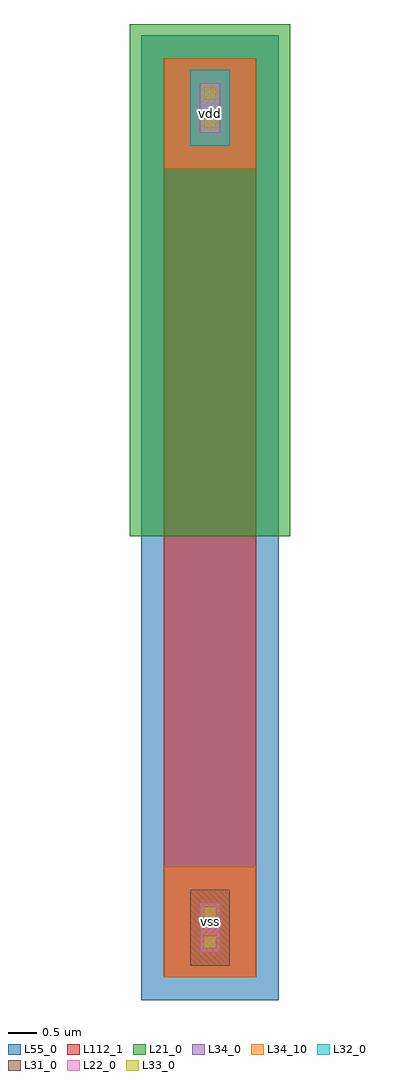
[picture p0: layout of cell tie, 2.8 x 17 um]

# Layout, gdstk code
import gdstk
lib = gdstk.Library(unit=1e-6, precision=1e-09)
def R(c, l, rs):  # rectangles x0, y0, x1, y1
    for r in rs: c.add(gdstk.rectangle(r[:2], r[2:], *l))
L21_0 = (21, 0)
L22_0 = (22, 0)
L31_0 = (31, 0)
L32_0 = (32, 0)
L33_0 = (33, 0)
L34_0 = (34, 0)
L34_10 = (34, 10)
L55_0 = (55, 0)
L112_1 = (112, 1)

tie = lib.new_cell('tie')
R(tie, L21_0, [(-0.6,7.68,2.2,16.6)])
R(tie, L22_0, [(0.62,0.43,0.98,1.29), (0.62,14.71,0.98,15.57)])
R(tie, L31_0, [(0.46,0.2,1.14,1.52)])
R(tie, L32_0, [(0.46,14.48,1.14,15.8)])
R(tie, L33_0, [(0.69,0.5,0.91,0.72), (0.69,1,0.91,1.22), (0.69,14.78,0.91,15), (0.69,15.28,0.91,15.5)])
R(tie, L34_0, [(0,0,1.6,1.92), (0,14.08,1.6,16)])
R(tie, L34_10, [(0,0,1.6,1.92), (0,14.08,1.6,16)])
R(tie, L55_0, [(-0.4,-0.4,2,16.4)])
R(tie, L112_1, [(-0.005,-0.005,1.605,16.005)])
tie.add(gdstk.Label('vdd', (0.8,15.04), layer=34, texttype=10))
tie.add(gdstk.Label('vss', (0.8,0.96), layer=34, texttype=10))

lib.write_gds('tie.gds')
